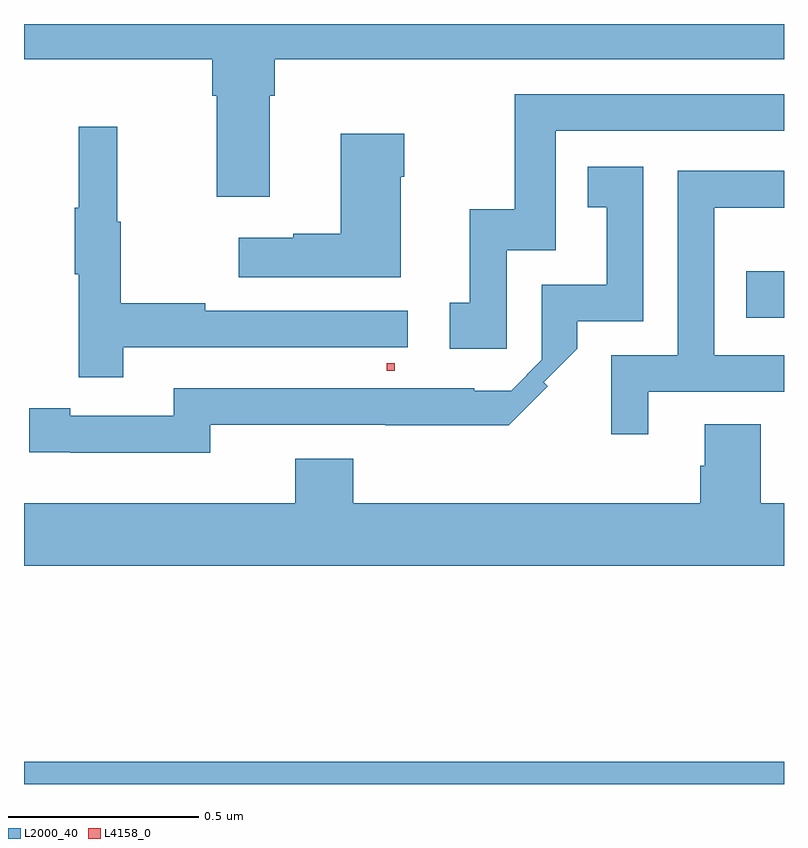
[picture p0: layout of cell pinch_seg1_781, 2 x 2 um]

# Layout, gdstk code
import gdstk
lib = gdstk.Library(unit=1e-6, precision=1e-09)
def R(c, l, rs):  # rectangles x0, y0, x1, y1
    for r in rs: c.add(gdstk.rectangle(r[:2], r[2:], *l))
def P(c, l, *ps):  # polygons
    for p in ps: c.add(gdstk.Polygon(p, *l))
L2000_40 = (2000, 40)
L4158_0 = (4158, 0)

pinch_seg1_781 = lib.new_cell('pinch_seg1_781')
R(pinch_seg1_781, L2000_40, [(841.832,513.861,843.832,513.92), (843.733,515.088,843.832,515.211)])
P(pinch_seg1_781, L2000_40, [(842.479,515.672),(842.492,515.672),(842.492,515.768),(843.832,515.768),(843.832,515.861),(841.832,515.861),(841.832,515.768),(842.327,515.768),(842.327,515.672),(842.339,515.672),(842.339,515.406),(842.479,515.406)],
  [(843.102,515.265),(843.231,515.265),(843.231,515.58),(843.832,515.58),(843.832,515.676),(843.123,515.676),(843.123,515.374),(843.005,515.374),(843.005,515.127),(842.952,515.127),(842.952,515.007),(843.102,515.007)],
  [(842.093,515.01),(842.842,515.01),(842.842,515.106),(842.309,515.106),(842.309,515.126),(842.086,515.126),(842.086,515.34),(842.078,515.34),(842.078,515.59),(841.976,515.59),(841.976,515.377),(841.965,515.377),(841.965,515.203),(841.976,515.203),(841.976,514.932),(842.093,514.932)],
  [(842.824,515.459),(842.832,515.459),(842.832,515.572),(842.666,515.572),(842.666,515.309),(842.54,515.309),(842.54,515.299),(842.397,515.299),(842.397,515.195),(842.824,515.195)],
  [(842.322,514.806),(842.782,514.806),(842.782,514.805),(843.107,514.805),(843.21,514.908),(843.2,514.918),(843.288,515.006),(843.288,515.079),(843.462,515.079),(843.462,515.485),(843.316,515.485),(843.316,515.379),(843.365,515.379),(843.365,515.175),(843.195,515.175),(843.195,514.977),(843.114,514.896),(843.017,514.896),(843.017,514.902),(842.226,514.902),(842.226,514.83),(841.954,514.83),(841.954,514.85),(841.846,514.85),(841.846,514.734),(841.954,514.734),(841.954,514.733),(842.322,514.733)],
  [(843.475,514.893),(843.832,514.893),(843.832,514.989),(843.648,514.989),(843.648,515.378),(843.832,515.378),(843.832,515.475),(843.552,515.475),(843.552,514.989),(843.378,514.989),(843.378,514.782),(843.475,514.782)],
  [(843.832,514.6),(843.771,514.6),(843.771,514.808),(843.623,514.808),(843.623,514.698),(843.611,514.698),(843.611,514.6),(842.699,514.6),(842.699,514.717),(842.546,514.717),(842.546,514.6),(841.832,514.6),(841.832,514.436),(843.832,514.436)])
R(pinch_seg1_781, L4158_0, [(842.787,514.948,842.807,514.968)])

lib.write_gds('pinch_seg1_781.gds')
